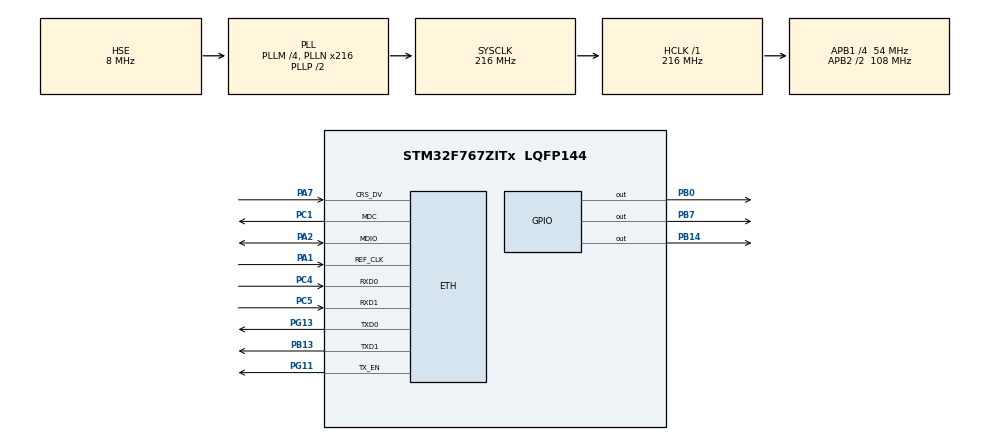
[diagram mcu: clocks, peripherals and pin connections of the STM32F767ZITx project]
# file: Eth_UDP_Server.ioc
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CORTEX_M7.CPU_DCache=Enabled
CORTEX_M7.CPU_ICache=Enabled
CORTEX_M7.PREFETCH_ENABLE=1
ETH.MediaInterface=ETH_MEDIA_INTERFACE_RMII
ETH.PhyAddress=0
LWIP.GATEWAY_ADDRESS=192.168.000.001
LWIP.IP_ADDRESS=192.168.000.111
LWIP.LWIP_DHCP=0
LWIP.MEM_SIZE=10*1024
LWIP.NETMASK_ADDRESS=255.255.255.000
LWIP.Version=v2.1.2_Cube
Mcu.Family=STM32F7
Mcu.Name=STM32F767ZITx
Mcu.Package=LQFP144
NVIC.ETH_IRQn=true\:0\:0\:false\:false\:true\:true\:true\:true
NVIC.PriorityGroup=NVIC_PRIORITYGROUP_4
PA1.Mode=RMII
PA1.Signal=ETH_REF_CLK
PA2.Mode=RMII
PA2.Signal=ETH_MDIO
PA7.Mode=RMII
PA7.Signal=ETH_CRS_DV
PB0.Signal=GPIO_Output
PB13.Mode=RMII
PB13.Signal=ETH_TXD1
PB14.Signal=GPIO_Output
PB7.Signal=GPIO_Output
PC1.Mode=RMII
PC1.Signal=ETH_MDC
PC4.Mode=RMII
PC4.Signal=ETH_RXD0
PC5.Mode=RMII
PC5.Signal=ETH_RXD1
PG11.Mode=RMII
PG11.Signal=ETH_TX_EN
PG13.Mode=RMII
PG13.Signal=ETH_TXD0
PH0/OSC_IN.Mode=HSE-External-Oscillator
PH0/OSC_IN.Signal=RCC_OSC_IN
PH1/OSC_OUT.Mode=HSE-External-Oscillator
PH1/OSC_OUT.Signal=RCC_OSC_OUT
ProjectManager.HeapSize=0x200
ProjectManager.StackSize=0x400
ProjectManager.TargetToolchain=STM32CubeIDE
RCC.AHBFreq_Value=216000000
RCC.APB1CLKDivider=RCC_HCLK_DIV4
RCC.APB1Freq_Value=54000000
RCC.APB1TimFreq_Value=108000000
RCC.APB2CLKDivider=RCC_HCLK_DIV2
RCC.APB2Freq_Value=108000000
RCC.APB2TimFreq_Value=216000000
RCC.CortexFreq_Value=216000000
RCC.HCLKFreq_Value=216000000
RCC.HSE_VALUE=8000000
RCC.HSI_VALUE=16000000
RCC.LSE_VALUE=32768
RCC.PLLM=4
RCC.PLLN=216
RCC.PLLSourceVirtual=RCC_PLLSOURCE_HSE
RCC.SYSCLKFreq_VALUE=216000000
RCC.SYSCLKSource=RCC_SYSCLKSOURCE_PLLCLK
RCC.USBFreq_Value=216000000
RCC.VCOOutputFreq_Value=432000000
VP_LWIP_VS_Enabled.Mode=Enabled
board=custom

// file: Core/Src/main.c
/* USER CODE BEGIN Header */
/** !!!!!!!!!! Not yet Working !!!!!!!!!!
  ******************************************************************************
  * @file           : main.c
  * @brief          : Main program body
  ******************************************************************************
  * @author         : Jabed-Akhtar (GitHub)
  * @date           : 12.03.2022
  ******************************************************************************
  * @attention
  *		-> ---
  *
  *	Imp note:
  *		- ---
  *
  * Project-Related infos:
  * 	- a source used within this project: https://controllerstech.com/stm32-ethenret-2-udp-server/
  * 	- evicences/pics can be found at location: '<project-main-folder>/zz_docs/***.***'
  *
  * Description
  * 	- This project is very basic. Only connection through ping (ICMP) (But not yet working)
  * 	- MCU-Board IP Address		: 192.168.000.100
  * 	- MCU-Board Gateway Address	: 192.168.000.001
  *
  ******************************************************************************
  */
/*
/* USER CODE END Header */
#include "main.h"
#include "lwip.h"

/* USER CODE BEGIN Includes */
//#include "lwip/pbuf.h"
#include "lwip/udp.h"
//#include "lwip/tcp.h"

#include "stdio.h"
/* USER CODE END Includes */

/* USER CODE BEGIN PV */
extern struct netif gnetif;
/* USER CODE END PV */

void SystemClock_Config(void);
static void MX_GPIO_Init(void);
/* USER CODE BEGIN PFP */
void udpServer_init(void);
void udp_receive_callback(void *arg, struct udp_pcb *upcb, struct pbuf *p, const ip_addr_t *addr, u16_t port);
/* USER CODE END PFP */

int main(void)
{

  /* Enable I-Cache---------------------------------------------------------*/
  SCB_EnableICache();

  /* Enable D-Cache---------------------------------------------------------*/
  SCB_EnableDCache();

  /* MCU Configuration--------------------------------------------------------*/

  /* Reset of all peripherals, Initializes the Flash interface and the Systick. */
  HAL_Init();

  /* Configure the system clock */
  SystemClock_Config();

  /* Initialize all configured peripherals */
  MX_GPIO_Init();
  MX_LWIP_Init();
  /* USER CODE BEGIN 2 */

  udpServer_init();

  /* USER CODE END 2 */

  /* Infinite loop */
  while (1)
  {

    /* USER CODE BEGIN 3 */
	  ethernetif_input(&gnetif);
	  sys_check_timeouts();
  }
  /* USER CODE END 3 */
}

void SystemClock_Config(void)
{
  RCC_OscInitTypeDef RCC_OscInitStruct = {0};
  RCC_ClkInitTypeDef RCC_ClkInitStruct = {0};

  /** Configure the main internal regulator output voltage
  */
  __HAL_RCC_PWR_CLK_ENABLE();
  __HAL_PWR_VOLTAGESCALING_CONFIG(PWR_REGULATOR_VOLTAGE_SCALE1);

  /** Initializes the RCC Oscillators according to the specified parameters
  * in the RCC_OscInitTypeDef structure.
  */
  RCC_OscInitStruct.OscillatorType = RCC_OSCILLATORTYPE_HSE;
  RCC_OscInitStruct.HSEState = RCC_HSE_ON;
  RCC_OscInitStruct.PLL.PLLState = RCC_PLL_ON;
  RCC_OscInitStruct.PLL.PLLSource = RCC_PLLSOURCE_HSE;
  RCC_OscInitStruct.PLL.PLLM = 4;
  RCC_OscInitStruct.PLL.PLLN = 216;
  RCC_OscInitStruct.PLL.PLLP = RCC_PLLP_DIV2;
  RCC_OscInitStruct.PLL.PLLQ = 2;
  RCC_OscInitStruct.PLL.PLLR = 2;
  if (HAL_RCC_OscConfig(&RCC_OscInitStruct) != HAL_OK)
  {
    Error_Handler();
  }

  /** Activate the Over-Drive mode
  */
  if (HAL_PWREx_EnableOverDrive() != HAL_OK)
  {
    Error_Handler();
  }

  /** Initializes the CPU, AHB and APB buses clocks
  */
  RCC_ClkInitStruct.ClockType = RCC_CLOCKTYPE_HCLK|RCC_CLOCKTYPE_SYSCLK
                              |RCC_CLOCKTYPE_PCLK1|RCC_CLOCKTYPE_PCLK2;
  RCC_ClkInitStruct.SYSCLKSource = RCC_SYSCLKSOURCE_PLLCLK;
  RCC_ClkInitStruct.AHBCLKDivider = RCC_SYSCLK_DIV1;
  RCC_ClkInitStruct.APB1CLKDivider = RCC_HCLK_DIV4;
  RCC_ClkInitStruct.APB2CLKDivider = RCC_HCLK_DIV2;

  if (HAL_RCC_ClockConfig(&RCC_ClkInitStruct, FLASH_LATENCY_7) != HAL_OK)
  {
    Error_Handler();
  }
}

static void MX_GPIO_Init(void)
{
  GPIO_InitTypeDef GPIO_InitStruct = {0};

  /* GPIO Ports Clock Enable */
  __HAL_RCC_GPIOH_CLK_ENABLE();
  __HAL_RCC_GPIOC_CLK_ENABLE();
  __HAL_RCC_GPIOA_CLK_ENABLE();
  __HAL_RCC_GPIOB_CLK_ENABLE();
  __HAL_RCC_GPIOG_CLK_ENABLE();

  /*Configure GPIO pin Output Level */
  HAL_GPIO_WritePin(GPIOB, GPIO_PIN_0|GPIO_PIN_14|GPIO_PIN_7, GPIO_PIN_RESET);

  /*Configure GPIO pins : PB0 PB14 PB7 */
  GPIO_InitStruct.Pin = GPIO_PIN_0|GPIO_PIN_14|GPIO_PIN_7;
  GPIO_InitStruct.Mode = GPIO_MODE_OUTPUT_PP;
  GPIO_InitStruct.Pull = GPIO_NOPULL;
  GPIO_InitStruct.Speed = GPIO_SPEED_FREQ_LOW;
  HAL_GPIO_Init(GPIOB, &GPIO_InitStruct);

}

/* USER CODE BEGIN 4 */

void udpServer_init(void)
{
	HAL_GPIO_WritePin(GPIOB, GPIO_PIN_0, GPIO_PIN_SET);

	// UDP Control Block structure
   struct udp_pcb *upcb;
   err_t err;

   /* 1. Create a new UDP control block  */
   upcb = udp_new();

   /* 2. Bind the upcb to the local port */
   ip_addr_t myIPADDR;
   IP_ADDR4(&myIPADDR, 192, 168, 0, 111);

   err = udp_bind(upcb, &myIPADDR, 7);  // 7 is the server UDP port

   /* 3. Set a receive callback for the upcb */
   if(err == ERR_OK)
   {
	   udp_recv(upcb, udp_receive_callback, NULL);

//	   HAL_GPIO_WritePin(GPIOB, GPIO_PIN_0, GPIO_PIN_RESET);
   }
   else
   {
	   udp_remove(upcb);
   }
}

/*
 * Help-Link: https://www.geeksforgeeks.org/udp-server-client-implementation-c/
 */
void udp_receive_callback(void *arg, struct udp_pcb *upcb, struct pbuf *p, const ip_addr_t *addr, u16_t port)
{
	HAL_GPIO_WritePin(GPIOB, GPIO_PIN_7, GPIO_PIN_SET);

	struct pbuf *txBuf;

	/* Get the IP of the Client */
	char *remoteIP = ipaddr_ntoa(addr);

	char buf[100];

	int len = sprintf (buf,"Hello %s From UDP SERVER\n", (char*)p->payload);

	/* allocate pbuf from RAM*/
	txBuf = pbuf_alloc(PBUF_TRANSPORT,len, PBUF_RAM);

	/* copy the data into the buffer  */
	pbuf_take(txBuf, buf, len);

	/* Connect to the remote client */
	udp_connect(upcb, addr, port);

	/* Send a Reply to the Client */
	udp_send(upcb, txBuf);

	/* free the UDP connection, so we can accept new clients */
	udp_disconnect(upcb);

	/* Free the p_tx buffer */
	pbuf_free(txBuf);

	/* Free the p buffer */
	pbuf_free(p);

//	HAL_GPIO_WritePin(GPIOB, GPIO_PIN_7, GPIO_PIN_RESET);
}

/* USER CODE END 4 */

void Error_Handler(void)
{
  __disable_irq();
  while (1)
  {
  }
}
